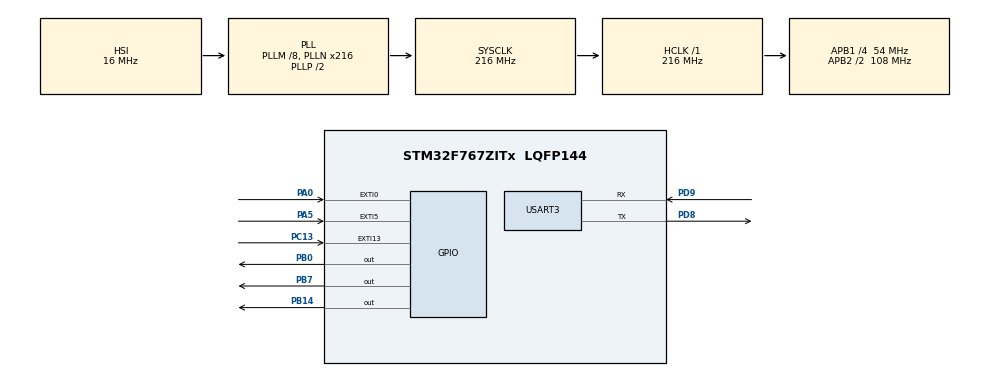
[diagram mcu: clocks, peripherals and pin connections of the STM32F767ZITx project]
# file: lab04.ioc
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Mcu.Family=STM32F7
Mcu.Name=STM32F767ZITx
Mcu.Package=LQFP144
NVIC.EXTI0_IRQn=true\:2\:3\:true\:false\:true\:true\:true\:true
NVIC.EXTI15_10_IRQn=true\:3\:1\:true\:false\:true\:true\:true\:true
NVIC.EXTI9_5_IRQn=true\:3\:3\:true\:false\:true\:true\:true\:true
NVIC.PriorityGroup=NVIC_PRIORITYGROUP_2
PA0/WKUP.Signal=GPXTI0
PA5.Signal=GPXTI5
PB0.Signal=GPIO_Output
PB14.Signal=GPIO_Output
PB7.Signal=GPIO_Output
PC13.Signal=GPXTI13
PD8.Mode=Asynchronous
PD8.Signal=USART3_TX
PD9.Mode=Asynchronous
PD9.Signal=USART3_RX
ProjectManager.HeapSize=0x200
ProjectManager.StackSize=0x400
ProjectManager.TargetToolchain=STM32CubeIDE
RCC.AHBFreq_Value=216000000
RCC.APB1CLKDivider=RCC_HCLK_DIV4
RCC.APB1Freq_Value=54000000
RCC.APB1TimFreq_Value=108000000
RCC.APB2CLKDivider=RCC_HCLK_DIV2
RCC.APB2Freq_Value=108000000
RCC.APB2TimFreq_Value=216000000
RCC.CortexFreq_Value=216000000
RCC.HCLKFreq_Value=216000000
RCC.HSE_VALUE=25000000
RCC.HSI_VALUE=16000000
RCC.LSE_VALUE=32768
RCC.PLLM=8
RCC.PLLN=216
RCC.SYSCLKFreq_VALUE=216000000
RCC.SYSCLKSource=RCC_SYSCLKSOURCE_PLLCLK
RCC.USBFreq_Value=216000000
RCC.VCOOutputFreq_Value=432000000
USART3.VirtualMode-Asynchronous=VM_ASYNC
board=custom

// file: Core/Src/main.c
/* USER CODE BEGIN Header */
/**
  ******************************************************************************
  * @file           : main.c
  * @brief          : Main program body
  ******************************************************************************
  * @attention
  *
  * Copyright (c) 2026 STMicroelectronics.
  * All rights reserved.
  *
  * This software is licensed under terms that can be found in the LICENSE file
  * in the root directory of this software component.
  * If no LICENSE file comes with this software, it is provided AS-IS.
  *
  ******************************************************************************
  */
/* USER CODE END Header */
#include "main.h"
#include "usart.h"
#include "gpio.h"

void SystemClock_Config(void);

int main(void)
{

  /* MCU Configuration--------------------------------------------------------*/

  /* Reset of all peripherals, Initializes the Flash interface and the Systick. */
  HAL_Init();

  /* Configure the system clock */
  SystemClock_Config();

  /* Initialize all configured peripherals */
  MX_GPIO_Init();
  MX_USART3_UART_Init();
  /* USER CODE BEGIN 2 */
  HAL_NVIC_SetPriority(SysTick_IRQn, 0, 0);
  /* USER CODE END 2 */

  /* Infinite loop */
  while (1)
  {

    /* USER CODE BEGIN 3 */
	  while (__HAL_UART_GET_FLAG(&huart3,UART_FLAG_TC)==RESET)

	  {

	  }

	  HAL_UART_Transmit(&huart3,".", 1, 1000);

	  HAL_Delay(400);
  }
  /* USER CODE END 3 */
}

void SystemClock_Config(void)
{
  RCC_OscInitTypeDef RCC_OscInitStruct = {0};
  RCC_ClkInitTypeDef RCC_ClkInitStruct = {0};

  /** Configure the main internal regulator output voltage
  */
  __HAL_RCC_PWR_CLK_ENABLE();
  __HAL_PWR_VOLTAGESCALING_CONFIG(PWR_REGULATOR_VOLTAGE_SCALE1);

  /** Initializes the RCC Oscillators according to the specified parameters
  * in the RCC_OscInitTypeDef structure.
  */
  RCC_OscInitStruct.OscillatorType = RCC_OSCILLATORTYPE_HSI;
  RCC_OscInitStruct.HSIState = RCC_HSI_ON;
  RCC_OscInitStruct.HSICalibrationValue = RCC_HSICALIBRATION_DEFAULT;
  RCC_OscInitStruct.PLL.PLLState = RCC_PLL_ON;
  RCC_OscInitStruct.PLL.PLLSource = RCC_PLLSOURCE_HSI;
  RCC_OscInitStruct.PLL.PLLM = 8;
  RCC_OscInitStruct.PLL.PLLN = 216;
  RCC_OscInitStruct.PLL.PLLP = RCC_PLLP_DIV2;
  RCC_OscInitStruct.PLL.PLLQ = 2;
  RCC_OscInitStruct.PLL.PLLR = 2;
  if (HAL_RCC_OscConfig(&RCC_OscInitStruct) != HAL_OK)
  {
    Error_Handler();
  }

  /** Activate the Over-Drive mode
  */
  if (HAL_PWREx_EnableOverDrive() != HAL_OK)
  {
    Error_Handler();
  }

  /** Initializes the CPU, AHB and APB buses clocks
  */
  RCC_ClkInitStruct.ClockType = RCC_CLOCKTYPE_HCLK|RCC_CLOCKTYPE_SYSCLK
                              |RCC_CLOCKTYPE_PCLK1|RCC_CLOCKTYPE_PCLK2;
  RCC_ClkInitStruct.SYSCLKSource = RCC_SYSCLKSOURCE_PLLCLK;
  RCC_ClkInitStruct.AHBCLKDivider = RCC_SYSCLK_DIV1;
  RCC_ClkInitStruct.APB1CLKDivider = RCC_HCLK_DIV4;
  RCC_ClkInitStruct.APB2CLKDivider = RCC_HCLK_DIV2;

  if (HAL_RCC_ClockConfig(&RCC_ClkInitStruct, FLASH_LATENCY_7) != HAL_OK)
  {
    Error_Handler();
  }
}

/* USER CODE BEGIN 4 */
void HAL_GPIO_EXTI_Callback(uint16_t GPIO_Pin)
{

    if (GPIO_Pin == GPIO_PIN_13)
    {
        HAL_UART_Transmit(&huart3, (uint8_t *) "---", 3, 100);
        for(int i=0; i<13; i++)
        {
            HAL_UART_Transmit(&huart3, (uint8_t *) "B", 1, 100);
			HAL_GPIO_WritePin(GPIOB, GPIO_PIN_0, GPIO_PIN_SET);
			HAL_Delay(200);
			HAL_GPIO_WritePin(GPIOB, GPIO_PIN_0, GPIO_PIN_RESET);
            HAL_Delay(200);
        }
    }
    else if (GPIO_Pin == GPIO_PIN_5)
        {
        	HAL_UART_Transmit(&huart3, (uint8_t *) "---", 3, 100);
    		for(int i=0; i<13; i++)
    		{
    			HAL_UART_Transmit(&huart3, (uint8_t *) "5", 1, 100);
    			HAL_GPIO_WritePin(GPIOB, GPIO_PIN_14, GPIO_PIN_SET);
    			HAL_Delay(200);
    			HAL_GPIO_WritePin(GPIOB, GPIO_PIN_14, GPIO_PIN_RESET);
                HAL_Delay(200);
    		}
        }
    else if (GPIO_Pin == GPIO_PIN_0)
    {
    	HAL_UART_Transmit(&huart3, (uint8_t *) "---", 3, 100);
		for(int i=0; i<13; i++)
		{
			HAL_UART_Transmit(&huart3, (uint8_t *) "E", 1, 100);
			HAL_GPIO_WritePin(GPIOB, GPIO_PIN_7, GPIO_PIN_SET);
			HAL_Delay(200);
			HAL_GPIO_WritePin(GPIOB, GPIO_PIN_7, GPIO_PIN_RESET);
            HAL_Delay(200);
		}
    }
}
/* USER CODE END 4 */

void Error_Handler(void)
{
  __disable_irq();
  while (1)
  {
  }
}
